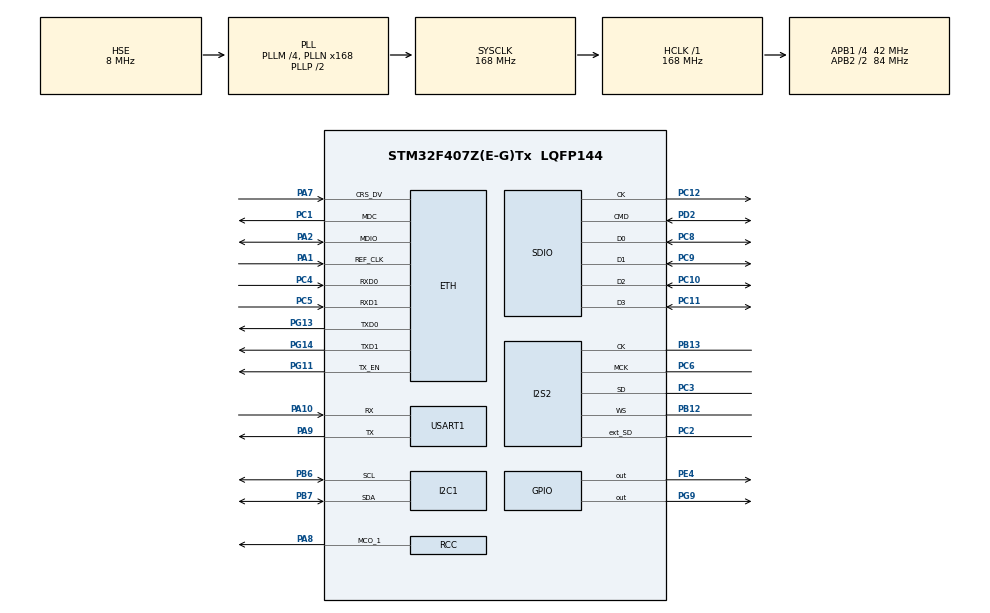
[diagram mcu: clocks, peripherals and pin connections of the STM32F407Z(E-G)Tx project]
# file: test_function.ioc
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Dma.Request0=SPI2_TX
Dma.Request1=SDIO_RX
Dma.Request2=SDIO_TX
Dma.SDIO_RX.1.Direction=DMA_PERIPH_TO_MEMORY
Dma.SDIO_RX.1.FIFOMode=DMA_FIFOMODE_ENABLE
Dma.SDIO_RX.1.FIFOThreshold=DMA_FIFO_THRESHOLD_FULL
Dma.SDIO_RX.1.Instance=DMA2_Stream3
Dma.SDIO_RX.1.MemBurst=DMA_MBURST_INC8
Dma.SDIO_RX.1.MemDataAlignment=DMA_MDATAALIGN_BYTE
Dma.SDIO_RX.1.MemInc=DMA_MINC_ENABLE
Dma.SDIO_RX.1.Mode=DMA_PFCTRL
Dma.SDIO_RX.1.PeriphBurst=DMA_PBURST_INC4
Dma.SDIO_RX.1.PeriphDataAlignment=DMA_PDATAALIGN_WORD
Dma.SDIO_RX.1.PeriphInc=DMA_PINC_DISABLE
Dma.SDIO_RX.1.Priority=DMA_PRIORITY_LOW
Dma.SDIO_TX.2.Direction=DMA_MEMORY_TO_PERIPH
Dma.SDIO_TX.2.FIFOMode=DMA_FIFOMODE_ENABLE
Dma.SDIO_TX.2.FIFOThreshold=DMA_FIFO_THRESHOLD_FULL
Dma.SDIO_TX.2.Instance=DMA2_Stream6
Dma.SDIO_TX.2.MemBurst=DMA_MBURST_INC8
Dma.SDIO_TX.2.MemDataAlignment=DMA_MDATAALIGN_BYTE
Dma.SDIO_TX.2.MemInc=DMA_MINC_ENABLE
Dma.SDIO_TX.2.Mode=DMA_PFCTRL
Dma.SDIO_TX.2.PeriphBurst=DMA_PBURST_INC4
Dma.SDIO_TX.2.PeriphDataAlignment=DMA_PDATAALIGN_WORD
Dma.SDIO_TX.2.PeriphInc=DMA_PINC_DISABLE
Dma.SDIO_TX.2.Priority=DMA_PRIORITY_LOW
Dma.SPI2_TX.0.Direction=DMA_MEMORY_TO_PERIPH
Dma.SPI2_TX.0.FIFOMode=DMA_FIFOMODE_DISABLE
Dma.SPI2_TX.0.Instance=DMA1_Stream4
Dma.SPI2_TX.0.MemDataAlignment=DMA_MDATAALIGN_HALFWORD
Dma.SPI2_TX.0.MemInc=DMA_MINC_ENABLE
Dma.SPI2_TX.0.Mode=DMA_NORMAL
Dma.SPI2_TX.0.PeriphDataAlignment=DMA_PDATAALIGN_HALFWORD
Dma.SPI2_TX.0.PeriphInc=DMA_PINC_DISABLE
Dma.SPI2_TX.0.Priority=DMA_PRIORITY_LOW
ETH.AutoNegotiation=ETH_AUTONEGOTIATION_ENABLE
ETH.MediaInterface=ETH_MEDIA_INTERFACE_RMII
ETH.PHY_DUPLEX_STATUS=0x0010
ETH.PHY_Name_RMII=DP83848_PHY_ADDRESS
ETH.PHY_SPEED_STATUS=0x0004
ETH.PHY_SR=0x31
ETH.PhyAddress=1
ETH.Speed=ETH_SPEED_100M
FATFS.USE_DMA_CODE_SD=1
FATFS._CODE_PAGE=936
FATFS._USE_LFN=2
FATFS._VOLUMES=1
FREERTOS.Tasks01=defaultTask,0,3000,StartDefaultTask,Default,NULL,Dynamic,NULL,NULL;myTask02,-3,512,StartTask02,Default,NULL,Dynamic,NULL,NULL
FREERTOS.configTOTAL_HEAP_SIZE=30360
I2S2.ErrorAudioFreq=-0.27 %
I2S2.FullDuplexMode=I2S_FULLDUPLEXMODE_ENABLE
I2S2.Instance=SPI$Index
I2S2.RealAudioFreq=7.978 KHz
I2S2.VirtualMode=I2S_MODE_MASTER
IWDG.Prescaler=IWDG_PRESCALER_32
LWIP.GATEWAY_ADDRESS=192.168.003.001
LWIP.IP_ADDRESS=192.168.003.243
LWIP.LWIP_DHCP=0
LWIP.LWIP_HTTPD=1
LWIP.LWIP_HTTPD_CGI=1
LWIP.LWIP_HTTPD_SUPPORT_POST=1
LWIP.NETMASK_ADDRESS=255.255.255.000
LWIP.Version=v2.1.2_Cube
Mcu.Family=STM32F4
Mcu.Name=STM32F407Z(E-G)Tx
Mcu.Package=LQFP144
NVIC.DMA1_Stream4_IRQn=true\:9\:0\:true\:false\:true\:true\:false\:true
NVIC.DMA2_Stream3_IRQn=true\:7\:0\:true\:false\:true\:true\:false\:true
NVIC.DMA2_Stream6_IRQn=true\:7\:0\:true\:false\:true\:true\:false\:true
NVIC.ETH_IRQn=true\:6\:0\:true\:false\:true\:true\:true\:true
NVIC.PriorityGroup=NVIC_PRIORITYGROUP_4
NVIC.SDIO_IRQn=true\:5\:0\:true\:false\:true\:true\:true\:true
NVIC.TIM1_UP_TIM10_IRQn=true\:15\:0\:false\:false\:true\:false\:false\:true
NVIC.TimeBase=TIM1_UP_TIM10_IRQn
NVIC.TimeBaseIP=TIM1
NVIC.USART1_IRQn=true\:6\:0\:true\:false\:true\:true\:true\:true
PA1.Mode=RMII
PA1.Signal=ETH_REF_CLK
PA10.Mode=Asynchronous
PA10.Signal=USART1_RX
PA2.Mode=RMII
PA2.Signal=ETH_MDIO
PA7.Mode=RMII
PA7.Signal=ETH_CRS_DV
PA8.Mode=Clock-out-1
PA8.Signal=RCC_MCO_1
PA9.Mode=Asynchronous
PA9.Signal=USART1_TX
PB12.Mode=Full_Duplex_Master
PB12.Signal=I2S2_WS
PB13.Mode=Full_Duplex_Master
PB13.Signal=I2S2_CK
PB6.GPIO_Pu=GPIO_PULLUP
PB6.Mode=I2C
PB6.Signal=I2C1_SCL
PB7.GPIO_Pu=GPIO_PULLUP
PB7.Mode=I2C
PB7.Signal=I2C1_SDA
PC1.Mode=RMII
PC1.Signal=ETH_MDC
PC10.Mode=SD_4_bits_Wide_bus
PC10.Signal=SDIO_D2
PC11.Mode=SD_4_bits_Wide_bus
PC11.Signal=SDIO_D3
PC12.Mode=SD_4_bits_Wide_bus
PC12.Signal=SDIO_CK
PC2.Mode=Full_Duplex_Master
PC2.Signal=I2S2_ext_SD
PC3.Mode=Full_Duplex_Master
PC3.Signal=I2S2_SD
PC4.Mode=RMII
PC4.Signal=ETH_RXD0
PC5.Mode=RMII
PC5.Signal=ETH_RXD1
PC6.Mode=Master_Clock_Activated
PC6.Signal=I2S2_MCK
PC8.Mode=SD_4_bits_Wide_bus
PC8.Signal=SDIO_D0
PC9.Mode=SD_4_bits_Wide_bus
PC9.Signal=SDIO_D1
PD2.Mode=SD_4_bits_Wide_bus
PD2.Signal=SDIO_CMD
PE4.Signal=GPIO_Output
PG11.Mode=RMII
PG11.Signal=ETH_TX_EN
PG13.Mode=RMII
PG13.Signal=ETH_TXD0
PG14.Mode=RMII
PG14.Signal=ETH_TXD1
PG9.Signal=GPIO_Output
PH0-OSC_IN.Mode=HSE-External-Oscillator
PH0-OSC_IN.Signal=RCC_OSC_IN
PH1-OSC_OUT.Mode=HSE-External-Oscillator
PH1-OSC_OUT.Signal=RCC_OSC_OUT
ProjectManager.HeapSize=0x1000
ProjectManager.StackSize=0x1000
ProjectManager.TargetToolchain=STM32CubeIDE
RCC.48MHZClocksFreq_Value=48000000
RCC.AHBFreq_Value=168000000
RCC.APB1CLKDivider=RCC_HCLK_DIV4
RCC.APB1Freq_Value=42000000
RCC.APB1TimFreq_Value=84000000
RCC.APB2CLKDivider=RCC_HCLK_DIV2
RCC.APB2Freq_Value=84000000
RCC.APB2TimFreq_Value=168000000
RCC.CortexFreq_Value=168000000
RCC.HCLKFreq_Value=168000000
RCC.HSE_VALUE=8000000
RCC.HSI_VALUE=16000000
RCC.LSE_VALUE=32768
RCC.PLLM=4
RCC.PLLN=168
RCC.PLLQ=7
RCC.PLLSourceVirtual=RCC_PLLSOURCE_HSE
RCC.SYSCLKFreq_VALUE=168000000
RCC.SYSCLKSource=RCC_SYSCLKSOURCE_PLLCLK
RCC.VCOOutputFreq_Value=336000000
SDIO.ClockDiv=2
USART1.VirtualMode=VM_ASYNC
VP_FATFS_VS_SDIO.Mode=SDIO
VP_FREERTOS_VS_CMSIS_V1.Mode=CMSIS_V1
VP_IWDG_VS_IWDG.Mode=IWDG_Activate
VP_LWIP_VS_Enabled.Mode=Enabled
VP_SYS_VS_tim1.Mode=TIM1
board=custom

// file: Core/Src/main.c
/* USER CODE BEGIN Header */
/**
 ******************************************************************************
 * @file           : main.c
 * @brief          : Main program body
 ******************************************************************************
 * @attention
 *
 * Copyright (c) 2022 STMicroelectronics.
 * All rights reserved.
 *
 * This software is licensed under terms that can be found in the LICENSE file
 * in the root directory of this software component.
 * If no LICENSE file comes with this software, it is provided AS-IS.
 *
 ******************************************************************************
 */
/* USER CODE END Header */
#include "main.h"
#include "cmsis_os.h"
#include "fatfs.h"
#include "lwip.h"
#include "malloc.h"
/* USER CODE BEGIN Includes */
#include "lwip/apps/httpd.h"
#include<stdio.h>
#include "http_ssi.h"
FIL abc;
/* USER CODE END Includes */

/* USER CODE BEGIN PTD */
#include "audio_player.h"
#define MAX_SIZE 40960
#define STEP 64
#define BLOCK_START_ADDR 0
#define NUM_OF_BLOCKS 1
//#define NAME  "0:\\Shiyan\\sing.wav"

#define BUFFER_WORDS_SIZE ((BLOCKSIZE*NUM_OF_B  LOCKS)>>2)

#define	WM8978_ADDRESS				0x1A
#define	WM8978_WIRTE_ADDRESS		(WM8978_ADDRESS << 1 | 0)
#define	BUFFER_SIZE					2048

extern uint16_t I2S_Buf0[BUFFER_SIZE];
extern uint16_t I2S_Buf1[BUFFER_SIZE];
#define KEY1_EVENT (0x01<<0)
#define KEY2_EVENT (0x01<<1)
EventGroupHandle_t Event_Handle=NULL;

//FIL abc2;
FATFS fs;                 //????
FIL fil;                  // ????
uint32_t byteswritten;    // ?????
uint32_t bytesread;       // ?????
//uint8_t wtext[] = "我就是那张SD!"; // ????
//FIL abc3;
//char filename[] = "abc.txt"; // ??
/* USER CODE END PTD */

I2C_HandleTypeDef hi2c1;

I2S_HandleTypeDef hi2s2;
DMA_HandleTypeDef hdma_spi2_tx;

IWDG_HandleTypeDef hiwdg;

SD_HandleTypeDef hsd;
DMA_HandleTypeDef hdma_sdio_rx;
DMA_HandleTypeDef hdma_sdio_tx;

UART_HandleTypeDef huart1;

osThreadId defaultTaskHandle;
osThreadId myTask02Handle;
/* USER CODE BEGIN PV */

#ifdef __GNUC__

#define PUTCHAR_PROTOTYPE int __io_putchar(int ch)

PUTCHAR_PROTOTYPE
{
    //注意下面第一个参数是&husart1，因为cubemx配置了串�???1自动生成�???
    HAL_UART_Transmit(&huart1, (uint8_t*)&ch, 1, HAL_MAX_DELAY);
    return ch;
}
#endif

unsigned char data_re[12];

void read_data(uint8_t *data) {
	FIL File;
	UINT bw;
	int i;
	int ret;
	ret = f_open(&File, "0:\\Shiyan\\tianqi.dat", FA_OPEN_ALWAYS | FA_READ);
	for (i = 0; i < 12; i++) {
		ret |= f_lseek(&File, 0 + i);
		ret |= f_read(&File, data + i, 1, &bw);
	}
	ret |= f_close(&File);
}

/* USER CODE END PV */

void SystemClock_Config(void);
static void MX_GPIO_Init(void);
static void MX_USART1_UART_Init(void);
static void MX_DMA_Init(void);
static void MX_SDIO_SD_Init(void);
static void MX_I2S2_Init(void);
static void MX_IWDG_Init(void);
static void MX_I2C1_Init(void);
void StartDefaultTask(void const * argument);
void StartTask02(void const * argument);

/* USER CODE BEGIN 0 */

//void read_data2(uint8_t *data)
//{
//	FIL File;
//	UINT bw;
//	int ret;
//	ret = f_open(&abc, "0:\\abc.txt", FA_OPEN_ALWAYS | FA_READ);
//  int i=0;
//	         /* 任何其他处理... */
//
//	         /* 定期或请求式填充输出�????????????????????????????????? */
//	 for(;;){
//
//		 ret=f_read(&File,data,4,&bw);
//		  HAL_UART_Transmit(&huart1,data,4,HAL_MAX_DELAY);
// 		  HAL_Delay(1000);
//
//		 if(ret||bw==0)break;
//	 }
//	//ret |= f_lseek(&File, 0);
//	//ret |= f_read(&File,data,4 , &bw); //自动移动数据指针
//	ret |= f_close(&File);
//}

//void write_data(uint8_t *data)
//{
//	FIL File;
//	UINT bw;
//	int ret;
//	char i;
//	ret = f_open(&File, "0:\\Shiyan\\tianqi.dat", FA_OPEN_ALWAYS | FA_WRITE);
//	ret |= f_lseek(&File, 0);
//
//	for(i=0;i<12;i++)
//	{
//		ret |= f_lseek(&File, 0+i);
//		ret |= f_write(&File,data+i,1 , &bw);
//	}
//	ret |= f_close(&File);
//}

/* USER CODE END 0 */

int main(void)
{

  /* MCU Configuration--------------------------------------------------------*/

  /* Reset of all peripherals, Initializes the Flash interface and the Systick. */
  HAL_Init();

  /* Configure the system clock */
  SystemClock_Config();

  /* Initialize all configured peripherals */
  MX_GPIO_Init();
  MX_USART1_UART_Init();
  MX_DMA_Init();
  MX_SDIO_SD_Init();
  MX_FATFS_Init();
  MX_I2S2_Init();
  MX_IWDG_Init();
  MX_I2C1_Init();
  /* USER CODE BEGIN 2 */

//  int iwdg_flag=0;
	//   (&huart1,"restart!!\r\n",7,HAL_MAX_DELAY);
	// unsigned char data_wr[12]={192,168,3,246,255,255,255,0,192,168,3,1};
	//  f_mount(&fs,"0:",1);
	//  write_data(data_wr);
	//  read_data(data_re);
	// Audio_Player_Init();
	// MX_LWIP_Init();
	// http_server_init();
	//my_mem_init(SRAMIN);			//鲁玫脢录禄炉脛脷虏驴脛脷麓忙鲁脴

	printf("111111\r\n");
	printf("222222\r\n");
	  Event_Handle=xEventGroupCreate();

  /* USER CODE END 2 */

  /* Create the thread(s) */
  /* definition and creation of defaultTask */

	    	//FIL * f_rec;
		Audio_Player_Init();

  osThreadDef(defaultTask, StartDefaultTask, osPriorityNormal, 0, 3000);
  defaultTaskHandle = osThreadCreate(osThread(defaultTask), NULL);

  /* definition and creation of myTask02 */
  osThreadDef(myTask02, StartTask02, osPriorityIdle, 0, 512);
  myTask02Handle = osThreadCreate(osThread(myTask02), NULL);

  /* Start scheduler */
  osKernelStart();

  /* We should never get here as control is now taken by the scheduler */
  /* Infinite loop */
	while (1) {

    /* USER CODE BEGIN 3 */
		//	MX_LWIP_Process();
		//  HAL_UART_Transmit(&huart1,"refresh!!\r\n",7,HAL_MAX_DELAY);
		//HAL_GPIO_WritePin(GPIOG,GPIO_PIN_9,GPIO_PIN_RESET);
		//HAL_Delay(500);
		//HAL_IWDG_Refresh(&hiwdg);
		//  HAL_GPIO_WritePin(GPIOG,GPIO_PIN_9,GPIO_PIN_SET);
		//  HAL_Delay(500);

	}
  /* USER CODE END 3 */
}

void SystemClock_Config(void)
{
  RCC_OscInitTypeDef RCC_OscInitStruct = {0};
  RCC_ClkInitTypeDef RCC_ClkInitStruct = {0};

  /** Configure the main internal regulator output voltage
  */
  __HAL_RCC_PWR_CLK_ENABLE();
  __HAL_PWR_VOLTAGESCALING_CONFIG(PWR_REGULATOR_VOLTAGE_SCALE1);
  /** Initializes the RCC Oscillators according to the specified parameters
  * in the RCC_OscInitTypeDef structure.
  */
  RCC_OscInitStruct.OscillatorType = RCC_OSCILLATORTYPE_HSI|RCC_OSCILLATORTYPE_LSI
                              |RCC_OSCILLATORTYPE_HSE;
  RCC_OscInitStruct.HSEState = RCC_HSE_ON;
  RCC_OscInitStruct.HSIState = RCC_HSI_ON;
  RCC_OscInitStruct.HSICalibrationValue = RCC_HSICALIBRATION_DEFAULT;
  RCC_OscInitStruct.LSIState = RCC_LSI_ON;
  RCC_OscInitStruct.PLL.PLLState = RCC_PLL_ON;
  RCC_OscInitStruct.PLL.PLLSource = RCC_PLLSOURCE_HSE;
  RCC_OscInitStruct.PLL.PLLM = 4;
  RCC_OscInitStruct.PLL.PLLN = 168;
  RCC_OscInitStruct.PLL.PLLP = RCC_PLLP_DIV2;
  RCC_OscInitStruct.PLL.PLLQ = 7;
  if (HAL_RCC_OscConfig(&RCC_OscInitStruct) != HAL_OK)
  {
    Error_Handler();
  }
  /** Initializes the CPU, AHB and APB buses clocks
  */
  RCC_ClkInitStruct.ClockType = RCC_CLOCKTYPE_HCLK|RCC_CLOCKTYPE_SYSCLK
                              |RCC_CLOCKTYPE_PCLK1|RCC_CLOCKTYPE_PCLK2;
  RCC_ClkInitStruct.SYSCLKSource = RCC_SYSCLKSOURCE_PLLCLK;
  RCC_ClkInitStruct.AHBCLKDivider = RCC_SYSCLK_DIV1;
  RCC_ClkInitStruct.APB1CLKDivider = RCC_HCLK_DIV4;
  RCC_ClkInitStruct.APB2CLKDivider = RCC_HCLK_DIV2;

  if (HAL_RCC_ClockConfig(&RCC_ClkInitStruct, FLASH_LATENCY_5) != HAL_OK)
  {
    Error_Handler();
  }
  HAL_RCC_MCOConfig(RCC_MCO1, RCC_MCO1SOURCE_HSI, RCC_MCODIV_1);
}

static void MX_I2C1_Init(void)
{

  hi2c1.Instance = I2C1;
  hi2c1.Init.ClockSpeed = 100000;
  hi2c1.Init.DutyCycle = I2C_DUTYCYCLE_2;
  hi2c1.Init.OwnAddress1 = 0;
  hi2c1.Init.AddressingMode = I2C_ADDRESSINGMODE_7BIT;
  hi2c1.Init.DualAddressMode = I2C_DUALADDRESS_DISABLE;
  hi2c1.Init.OwnAddress2 = 0;
  hi2c1.Init.GeneralCallMode = I2C_GENERALCALL_DISABLE;
  hi2c1.Init.NoStretchMode = I2C_NOSTRETCH_DISABLE;
  if (HAL_I2C_Init(&hi2c1) != HAL_OK)
  {
    Error_Handler();
  }

}

static void MX_I2S2_Init(void)
{

  hi2s2.Instance = SPI2;
  hi2s2.Init.Mode = I2S_MODE_MASTER_TX;
  hi2s2.Init.Standard = I2S_STANDARD_PHILIPS;
  hi2s2.Init.DataFormat = I2S_DATAFORMAT_16B;
  hi2s2.Init.MCLKOutput = I2S_MCLKOUTPUT_ENABLE;
  hi2s2.Init.AudioFreq = I2S_AUDIOFREQ_8K;
  hi2s2.Init.CPOL = I2S_CPOL_LOW;
  hi2s2.Init.ClockSource = I2S_CLOCK_PLL;
  hi2s2.Init.FullDuplexMode = I2S_FULLDUPLEXMODE_ENABLE;
  if (HAL_I2S_Init(&hi2s2) != HAL_OK)
  {
    Error_Handler();
  }

}

static void MX_IWDG_Init(void)
{

  hiwdg.Instance = IWDG;
  hiwdg.Init.Prescaler = IWDG_PRESCALER_32;
  hiwdg.Init.Reload = 4095;
  if (HAL_IWDG_Init(&hiwdg) != HAL_OK)
  {
    Error_Handler();
  }

}

static void MX_SDIO_SD_Init(void)
{

  hsd.Instance = SDIO;
  hsd.Init.ClockEdge = SDIO_CLOCK_EDGE_RISING;
  hsd.Init.ClockBypass = SDIO_CLOCK_BYPASS_DISABLE;
  hsd.Init.ClockPowerSave = SDIO_CLOCK_POWER_SAVE_DISABLE;
  hsd.Init.BusWide = SDIO_BUS_WIDE_1B;
  hsd.Init.HardwareFlowControl = SDIO_HARDWARE_FLOW_CONTROL_DISABLE;
  hsd.Init.ClockDiv = 2;

}

static void MX_USART1_UART_Init(void)
{

  huart1.Instance = USART1;
  huart1.Init.BaudRate = 115200;
  huart1.Init.WordLength = UART_WORDLENGTH_8B;
  huart1.Init.StopBits = UART_STOPBITS_1;
  huart1.Init.Parity = UART_PARITY_NONE;
  huart1.Init.Mode = UART_MODE_TX_RX;
  huart1.Init.HwFlowCtl = UART_HWCONTROL_NONE;
  huart1.Init.OverSampling = UART_OVERSAMPLING_16;
  if (HAL_UART_Init(&huart1) != HAL_OK)
  {
    Error_Handler();
  }

}

static void MX_DMA_Init(void)
{

  /* DMA controller clock enable */
  __HAL_RCC_DMA1_CLK_ENABLE();
  __HAL_RCC_DMA2_CLK_ENABLE();

  /* DMA interrupt init */
  /* DMA1_Stream4_IRQn interrupt configuration */
  HAL_NVIC_SetPriority(DMA1_Stream4_IRQn, 9, 0);
  HAL_NVIC_EnableIRQ(DMA1_Stream4_IRQn);
  /* DMA2_Stream3_IRQn interrupt configuration */
  HAL_NVIC_SetPriority(DMA2_Stream3_IRQn, 7, 0);
  HAL_NVIC_EnableIRQ(DMA2_Stream3_IRQn);
  /* DMA2_Stream6_IRQn interrupt configuration */
  HAL_NVIC_SetPriority(DMA2_Stream6_IRQn, 7, 0);
  HAL_NVIC_EnableIRQ(DMA2_Stream6_IRQn);

}

static void MX_GPIO_Init(void)
{
  GPIO_InitTypeDef GPIO_InitStruct = {0};

  /* GPIO Ports Clock Enable */
  __HAL_RCC_GPIOE_CLK_ENABLE();
  __HAL_RCC_GPIOH_CLK_ENABLE();
  __HAL_RCC_GPIOC_CLK_ENABLE();
  __HAL_RCC_GPIOA_CLK_ENABLE();
  __HAL_RCC_GPIOB_CLK_ENABLE();
  __HAL_RCC_GPIOD_CLK_ENABLE();
  __HAL_RCC_GPIOG_CLK_ENABLE();

  /*Configure GPIO pin Output Level */
  HAL_GPIO_WritePin(GPIOE, GPIO_PIN_4, GPIO_PIN_RESET);

  /*Configure GPIO pin Output Level */
  HAL_GPIO_WritePin(GPIOG, GPIO_PIN_9, GPIO_PIN_RESET);

  /*Configure GPIO pin : PE4 */
  GPIO_InitStruct.Pin = GPIO_PIN_4;
  GPIO_InitStruct.Mode = GPIO_MODE_OUTPUT_PP;
  GPIO_InitStruct.Pull = GPIO_NOPULL;
  GPIO_InitStruct.Speed = GPIO_SPEED_FREQ_LOW;
  HAL_GPIO_Init(GPIOE, &GPIO_InitStruct);

  /*Configure GPIO pin : PA8 */
  GPIO_InitStruct.Pin = GPIO_PIN_8;
  GPIO_InitStruct.Mode = GPIO_MODE_AF_PP;
  GPIO_InitStruct.Pull = GPIO_NOPULL;
  GPIO_InitStruct.Speed = GPIO_SPEED_FREQ_LOW;
  GPIO_InitStruct.Alternate = GPIO_AF0_MCO;
  HAL_GPIO_Init(GPIOA, &GPIO_InitStruct);

  /*Configure GPIO pin : PG9 */
  GPIO_InitStruct.Pin = GPIO_PIN_9;
  GPIO_InitStruct.Mode = GPIO_MODE_OUTPUT_PP;
  GPIO_InitStruct.Pull = GPIO_NOPULL;
  GPIO_InitStruct.Speed = GPIO_SPEED_FREQ_LOW;
  HAL_GPIO_Init(GPIOG, &GPIO_InitStruct);

}

void StartDefaultTask(void const * argument)
{
  /* init code for LWIP */
  /* USER CODE BEGIN 5 */

	f_mount(&fs,"0:",1);
	MX_LWIP_Init();
	http_server_init();
	/* Infinite loop */
	for (;;) {

		osDelay(7000);
	}
  /* USER CODE END 5 */
}

void StartTask02(void const * argument)
{
  /* USER CODE BEGIN StartTask02 */
	//EventBits_t r_event;
	//Audio_Player_Init();

	/* Infinite loop */
	for (;;) {
		osDelay(3000);//拉长
		HAL_IWDG_Refresh(&hiwdg);
	}
  /* USER CODE END StartTask02 */
}

void HAL_TIM_PeriodElapsedCallback(TIM_HandleTypeDef *htim)
{
  if (htim->Instance == TIM1) {
    HAL_IncTick();
  }
}

void Error_Handler(void)
{
	__disable_irq();
	while (1) {
	}
}
